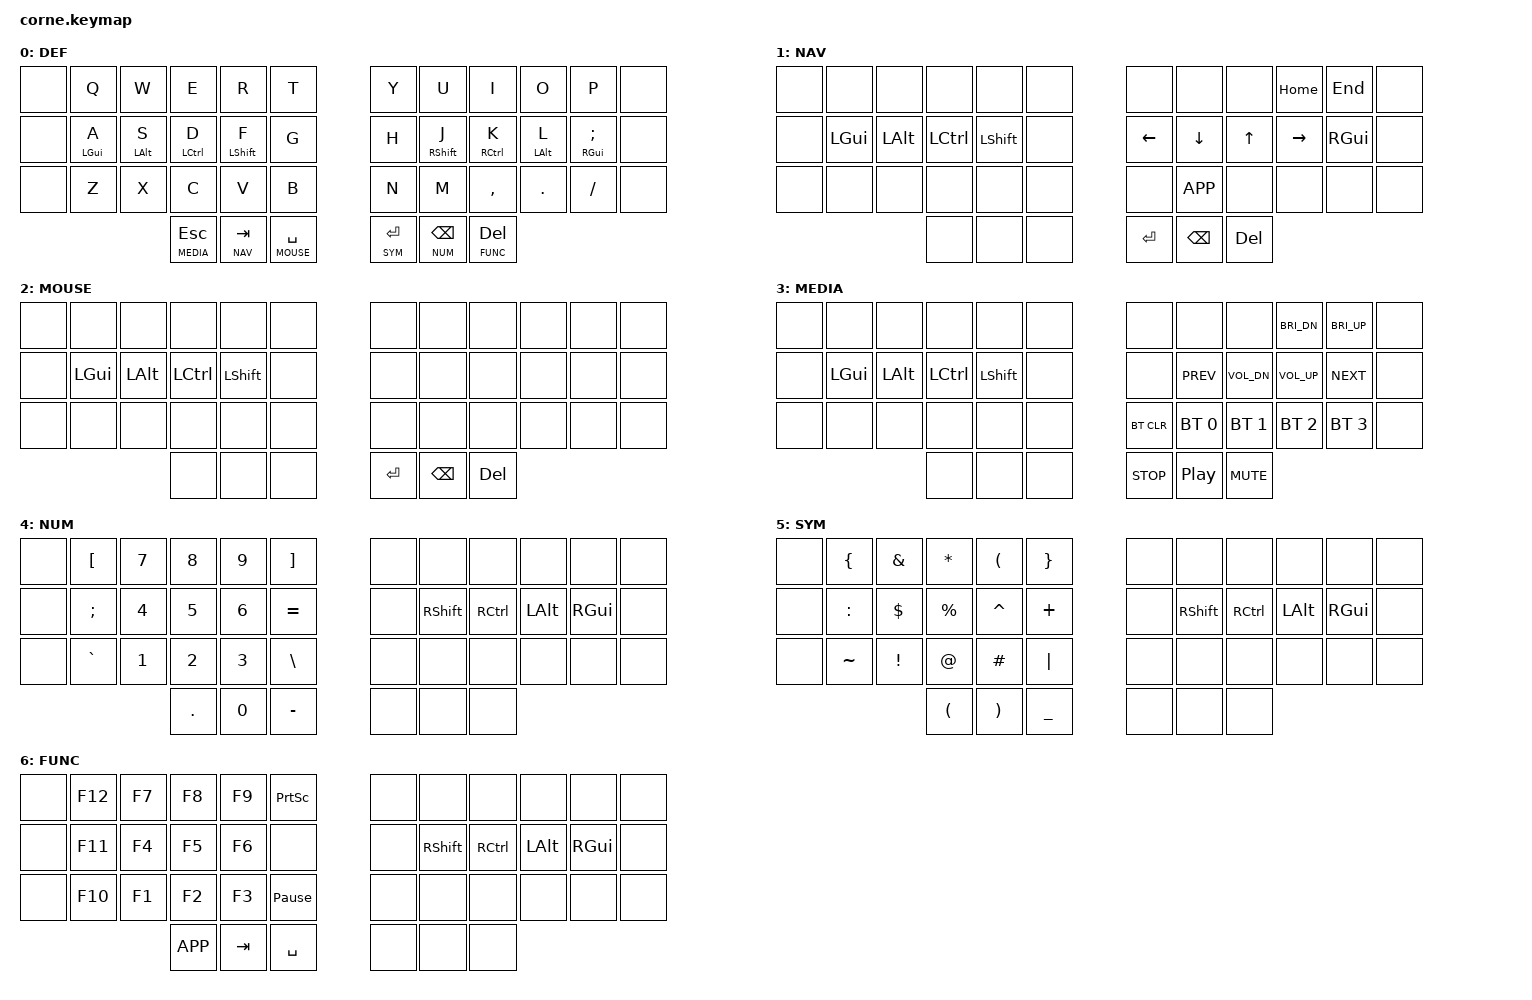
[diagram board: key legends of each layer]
/*
 * Copyright (c) 2020 The ZMK Contributors
 *
 * SPDX-License-Identifier: MIT
 */

#include <behaviors.dtsi>
#include <dt-bindings/zmk/keys.h>
#include <dt-bindings/zmk/bt.h>

// Layers
// TODO: Implement button layout (https://github.com/manna-harbour/miryoku/tree/master/docs/reference#button)
#define DEFAULT 0
#define NAV 1
#define MOUSE 2
#define MEDIA 3
#define NUM 4
#define SYM 5
#define FUNC 6

&mt {
        quick-tap-ms = <50>;
};

/ {
        behaviors {
                hm: homerow_mods {
                        compatible = "zmk,behavior-hold-tap";
                        label = "HOMEROW_MODS";
                        #binding-cells = <2>;
                        tapping-term-ms = <250>;
                        quick-tap-ms = <0>;
                        flavor = "balanced";
                        bindings = <&kp>, <&kp>;
                    };
                };

                combos {
                        compatible = "zmk,combos";
                        combo_esc {
                            // Combo q + w = esc
                            timeout-ms = <50>;
                            key-positions = <1 2>;
                            bindings = <&kp ESC>;
                        };
                    };

        keymap {
                compatible = "zmk,keymap";

                default_layer {
                        label = "DEF";
// -----------------------------------------------------------------------------------------
//  Q  |  W  |  E  |  R  |  T  |   |  Y  |  U  |  I  |  O  |  P
//  A  |  S  |  D  |  F  |  G  |   |  H  |  J  |  K  |  L  |  ;
//  Z  |  X  |  C  |  V  |  B  |   |  N  |  M  |  ,  |  .  |  /
//           | ESC | TAB | SPACE |   | ENT | BSPC | DEL |
// -----------------------------------------------------------------------------------------
                        bindings = <
   &none   &kp Q    &kp W     &kp E     &kp R     &kp T   &kp Y     &kp U      &kp I     &kp O   &kp P       &none
   &none   &hm LGUI A    &hm LALT S     &hm LCTRL D     &hm LSHIFT F     &kp G   &kp H     &hm RSHIFT J      &hm RCTRL K     &hm LALT L   &hm RGUI SEMI    &none
   &none   &kp Z    &kp X     &kp C     &kp V     &kp B   &kp N     &kp M      &kp COMMA &kp DOT &kp FSLH    &none
                  &lt MEDIA ESC  &lt NAV TAB &lt MOUSE SPACE   &lt SYM RET &lt NUM BSPC &lt FUNC DEL
                        >;
                };

                nav_layer {
                        label = "NAV";
// -----------------------------------------------------------------------------------------
//  _  |  _  |  _  |  _   |  _  |   |  _  |  _  |  _  | HOME| END |
// GUI | ALT | CTRL|SHIFT|  _  |   |  ←  |  ↓  |  ↑  |  →  |  _  |
//  _  |  _  |  _  |  _  |  _  |   |  _  | MENU|  _  |  _  |  _  |
//           |  _  |  _  |  _  |   | ENT | BSPC | DEL |
// -----------------------------------------------------------------------------------------

                        bindings = <
   &none   &none    &none     &none     &none      &none   &none     &none     &none   &kp HOME    &kp END    &none
   &none   &kp LGUI &kp LALT  &kp LCTRL &kp LSHIFT &none   &kp LEFT  &kp DOWN  &kp UP  &kp RIGHT   &kp RGUI   &none
   &none   &none    &none     &none     &none      &none   &none     &kp K_APP &none   &none    &none         &none
                  &none &none &none     &kp RET  &kp BSPC   &kp DEL
                        >;
                };

                mouse_layer {
                        label = "MOUSE";
// TODO: Add this once it's supported in ZMK
// -----------------------------------------------------------------------------------------
//  _  |  _  |  _  |  _  |  _  |   |  _  |  _  |  _  |  _  |  _  |
// GUI | ALT | CTRL|SHIFT|  _  |   |  _  |  _  |  _  |  _  |  _  |
//  _  |  _  |  _  |  _  |  _  |   |  _  |  _  |  _  |  _  |  _  |
//           |  _  |  _  |  _  |   | ENT | BSPC | DEL |
// -----------------------------------------------------------------------------------------
                        bindings = <
   &none   &none    &none     &none     &none      &none   &none  &none  &none  &none   &none   &none
   &none   &kp LGUI &kp LALT  &kp LCTRL &kp LSHIFT &none   &none  &none  &none  &none   &none   &none
   &none   &none    &none     &none     &none      &none   &none  &none  &none  &none   &none   &none
                  &none &none &none     &kp RET  &kp BSPC   &kp DEL
                        >;
                };

                media_layer {
                        label = "MEDIA";
// -----------------------------------------------------------------------------------------
//  _  |  _  |  _  |  _  |  _  |   |  _  |  _  |  _  |  🔅 |  🔆 |
// GUI | ALT | CTRL|SHIFT|  _  |   |  _  |  ⏮️ |  🔈 | 🔈  |  ⏭️ |
//  _  |  _  |  _  |  _  |  _  |   |🔹CLR| 🔹0 | 🔹1 | 🔹2 | 🔹3 |
//           |  _  |  _  |  _  |   |  ⏹️ | ⏯️  |  🔇 |
// -----------------------------------------------------------------------------------------
// TODO: Add Bluetooth controls
                        bindings = <
   &none   &none    &none     &none     &none      &none   &none  &none  &none  &kp C_BRI_DN   &kp C_BRI_UP   &none
   &none   &kp LGUI &kp LALT  &kp LCTRL &kp LSHIFT &none   &none  &kp C_PREV  &kp C_VOL_DN  &kp C_VOL_UP   &kp C_NEXT   &none
   &none   &none    &none     &none     &none      &none   &bt BT_CLR  &bt BT_SEL 0  &bt BT_SEL 1  &bt BT_SEL 2   &bt BT_SEL 3   &none
                  &none &none &none     &kp C_STOP  &kp C_PLAY_PAUSE  &kp C_MUTE
                        >;
                };

                num_layer {
                        label = "NUM";
// -----------------------------------------------------------------------------------------
//  [  |  7  |  8  |  9  |  ]  |   |  _  |  _  |  _  |  _  |  _  |
//  ;: |  4  |  5  |  6  |  =+ |   |  _  |SHIFT| CTRL| ALT | GUI |
//  `~ |  1  |  2  |  3  |  \| |   |  _  |  _  |  _  |  _  |  _  |
//           |  .>  |  0  | -_ |   |  _  |  _  |  _  |
// -----------------------------------------------------------------------------------------
                        bindings = <
   &none   &kp LBKT    &kp N7     &kp N8     &kp N9      &kp RBKT       &none  &none  &none  &none   &none   &none
   &none   &kp SEMI    &kp N4     &kp N5     &kp N6      &kp EQUAL      &none  &kp RSHIFT  &kp RCTRL  &kp LALT   &kp RGUI  &none
   &none   &kp GRAVE   &kp N1     &kp N2     &kp N3      &kp BSLH       &none  &none  &none  &none   &none   &none
                  &kp DOT &kp N0 &kp MINUS                                      &none  &none  &none
                        >;
                };

                sym_layer {
                        label = "SYM";
// -----------------------------------------------------------------------------------------
//  {  |  &  |  *  |  (  |  }  |   |  _  |  _  |  _  |  _  |  _  |
//  :  |  $  |  %  |  ^  |  +  |   |  _  |SHIFT| CTRL| ALT | GUI |
//  ~  |  !  |  @  |  #  |  |  |   |  _  |  _  |  _  |  _  |  _  |
//           |  (  |  )  |  _  |   |  _  |  _  |  _  |
// -----------------------------------------------------------------------------------------
                        bindings = <
   &none   &kp LBRC    &kp AMPS     &kp STAR     &kp LPAR      &kp RBRC       &none  &none  &none  &none   &none   &none
   &none   &kp COLON    &kp DOLLAR     &kp PERCENT     &kp CARET      &kp PLUS      &none  &kp RSHIFT  &kp RCTRL  &kp LALT   &kp RGUI  &none
   &none   &kp TILDE   &kp EXCL     &kp AT     &kp HASH      &kp PIPE       &none  &none  &none  &none   &none   &none
                  &kp LPAR &kp RPAR &kp UNDERSCORE                                      &none  &none  &none
                        >;
                };

                func_layer {
                        label = "FUNC";
// -----------------------------------------------------------------------------------------
// F12 | F7  |  F8 |  F9 |PRINT|   |  _  |  _  |  _  |  _  |  _  |
// F11 | F4  |  F5 |  F6 |  _  |   |  _  |SHIFT| CTRL| ALT | GUI |
// F10 | F1  |  F2 |  F3 |BREAK|   |  _  |  _  |  _  |  _  |  _  |
//           |  🍔 |TAB| SPACE |   |  _  |  _  |  _  |
// -----------------------------------------------------------------------------------------
                        bindings = <
   &none   &kp F12   &kp F7     &kp F8     &kp F9      &kp PSCRN       &none  &none  &none  &none   &none   &none
   &none   &kp F11   &kp F4     &kp F5     &kp F6      &none       &none  &kp RSHIFT  &kp RCTRL  &kp LALT   &kp RGUI  &none
   &none   &kp F10   &kp F1     &kp F2     &kp F3      &kp PAUSE_BREAK       &none  &none  &none  &none   &none   &none
                  &kp K_APP &kp TAB &kp SPACE                                      &none  &none  &none
                        >;
                };
        };
};
